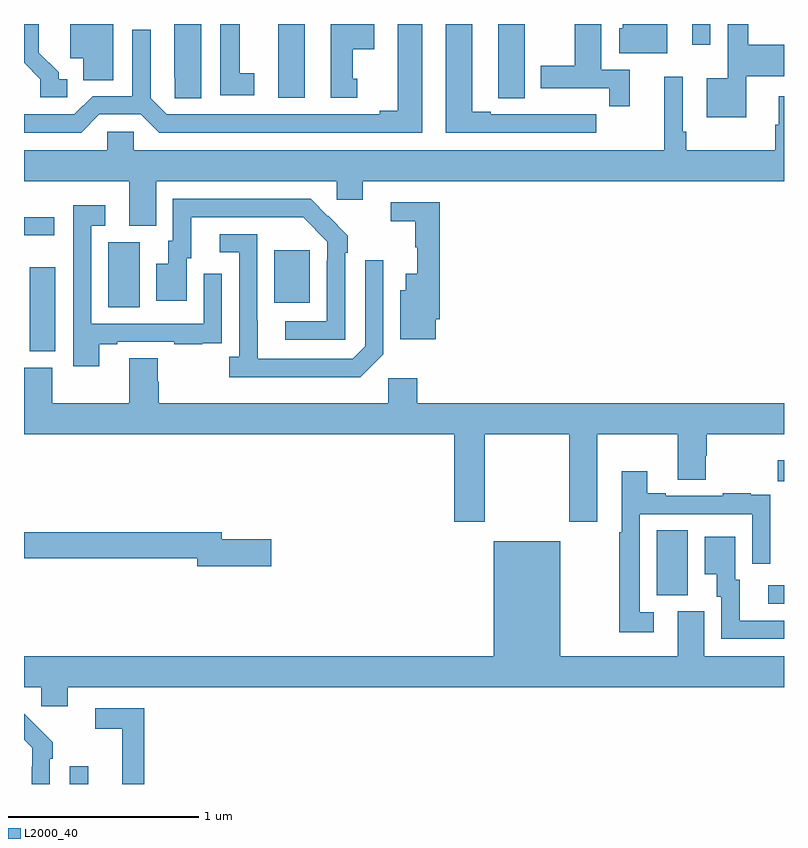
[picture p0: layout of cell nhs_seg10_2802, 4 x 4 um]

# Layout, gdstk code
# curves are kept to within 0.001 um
import gdstk
lib = gdstk.Library(unit=1e-6, precision=1e-09)
def R(c, l, rs):  # rectangles x0, y0, x1, y1
    for r in rs: c.add(gdstk.rectangle(r[:2], r[2:], *l))
def P(c, l, *ps):  # polygons
    for p in ps: c.add(gdstk.Polygon(p, *l))
L2000_40 = (2000, 40)

nhs_seg10_2802 = lib.new_cell('nhs_seg10_2802')
R(nhs_seg10_2802, L2000_40, [(263.241,1274.5,263.337,1274.593), (266.916,1275.45,267,1275.546), (266.33,1275.493,266.494,1275.836), (266.967,1276.094,267,1276.204), (263.03,1276.777,263.164,1277.221), (263.444,1277.008,263.608,1277.352), (264.317,1277.033,264.505,1277.308), (263,1277.388,263.158,1277.484), (264.338,1278.111,264.478,1278.5), (266.516,1278.39,266.613,1278.5)])
P(nhs_seg10_2802, L2000_40, [(266.011,1278.024),(265.898,1278.024),(265.898,1278.025),(265.732,1278.025),(265.732,1278.024),(265.456,1278.024),(265.456,1278.039),(265.36,1278.039),(265.36,1278.5),(265.22,1278.5),(265.22,1277.928),(266.011,1277.928)],
  [(265.636,1278.5),(265.496,1278.5),(265.496,1278.217),(265.497,1278.217),(265.497,1278.109),(265.636,1278.109)],
  [(263.932,1278.5),(263.792,1278.5),(263.792,1278.217),(263.793,1278.217),(263.793,1278.109),(263.932,1278.109)],
  [(264.754,1278.213),(264.73,1278.213),(264.73,1278.368),(264.844,1278.368),(264.844,1278.5),(264.614,1278.5),(264.614,1278.111),(264.754,1278.111)],
  [(263.227,1278.21),(263.182,1278.21),(263.182,1278.245),(263.077,1278.35),(263.077,1278.5),(263,1278.5),(263,1278.295),(263.085,1278.21),(263.085,1278.114),(263.227,1278.114)],
  [(264.211,1278.242),(264.136,1278.242),(264.136,1278.5),(264.032,1278.5),(264.032,1278.126),(264.211,1278.126)],
  [(266.189,1278.258),(266.038,1278.258),(266.038,1278.5),(265.898,1278.5),(265.898,1278.279),(265.721,1278.279),(265.721,1278.162),(266.08,1278.162),(266.08,1278.066),(266.189,1278.066)],
  [(266.8,1278.224),(267,1278.224),(267,1278.39),(266.812,1278.39),(266.812,1278.5),(266.703,1278.5),(266.703,1278.214),(266.594,1278.214),(266.594,1278.008),(266.8,1278.008)],
  [(263.397,1278.024),(263.615,1278.024),(263.711,1277.928),(265.096,1277.928),(265.096,1278.5),(264.968,1278.5),(264.968,1278.044),(264.872,1278.044),(264.872,1278.024),(263.751,1278.024),(263.667,1278.108),(263.667,1278.469),(263.571,1278.469),(263.571,1278.12),(263.361,1278.12),(263.265,1278.024),(263,1278.024),(263,1277.928),(263.301,1277.928)],
  [(263.47,1278.5),(263.243,1278.5),(263.243,1278.32),(263.312,1278.32),(263.312,1278.205),(263.47,1278.205)],
  [(266.386,1278.5),(266.15,1278.5),(266.15,1278.477),(266.132,1278.477),(266.132,1278.347),(266.386,1278.347)],
  [(263.695,1277.672),(264.645,1277.672),(264.645,1277.574),(264.784,1277.574),(264.784,1277.672),(267,1277.672),(267,1278.121),(266.972,1278.121),(266.972,1277.97),(266.953,1277.97),(266.953,1277.836),(266.486,1277.836),(266.486,1277.932),(266.466,1277.932),(266.466,1278.223),(266.369,1278.223),(266.369,1277.836),(263.577,1277.836),(263.577,1277.934),(263.439,1277.934),(263.439,1277.836),(263,1277.836),(263,1277.672),(263.555,1277.672),(263.555,1277.437),(263.695,1277.437)],
  [(264.69,1277.297),(264.705,1277.297),(264.705,1277.385),(264.508,1277.58),(263.784,1277.58),(263.784,1277.358),(263.759,1277.358),(263.759,1277.239),(263.696,1277.239),(263.696,1277.043),(263.857,1277.043),(263.857,1277.268),(263.881,1277.268),(263.881,1277.484),(264.469,1277.484),(264.597,1277.355),(264.597,1277.255),(264.594,1277.255),(264.594,1276.935),(264.375,1276.935),(264.375,1276.839),(264.69,1276.839)],
  [(265.168,1276.945),(265.187,1276.945),(265.187,1277.562),(264.93,1277.562),(264.93,1277.461),(265.059,1277.461),(265.059,1277.325),(265.07,1277.325),(265.07,1277.185),(265.01,1277.185),(265.01,1277.098),(264.98,1277.098),(264.98,1276.841),(265.168,1276.841)],
  [(263.395,1276.815),(263.491,1276.815),(263.491,1276.827),(263.791,1276.827),(263.791,1276.815),(263.939,1276.815),(263.939,1276.821),(264.041,1276.821),(264.041,1276.93),(264.042,1276.93),(264.042,1277.185),(263.946,1277.185),(263.946,1276.923),(263.355,1276.923),(263.355,1277.439),(263.428,1277.439),(263.428,1277.545),(263.259,1277.545),(263.259,1276.698),(263.395,1276.698)],
  [(264.891,1276.761),(264.891,1277.257),(264.795,1277.257),(264.795,1276.803),(264.729,1276.737),(264.229,1276.737),(264.228,1277.394),(264.03,1277.394),(264.03,1277.298),(264.132,1277.298),(264.132,1276.75),(264.081,1276.75),(264.081,1276.64),(264.77,1276.64)],
  [(265.425,1276.34),(265.87,1276.34),(265.87,1275.879),(266.017,1275.879),(266.017,1276.34),(266.441,1276.34),(266.441,1276.102),(266.589,1276.102),(266.589,1276.227),(266.594,1276.227),(266.594,1276.34),(267,1276.34),(267,1276.504),(265.07,1276.504),(265.07,1276.636),(264.918,1276.636),(264.918,1276.504),(263.708,1276.504),(263.708,1276.617),(263.703,1276.617),(263.703,1276.742),(263.555,1276.742),(263.555,1276.504),(263.149,1276.504),(263.149,1276.692),(263.002,1276.692),(263.002,1276.504),(263,1276.504),(263,1276.34),(265.265,1276.34),(265.265,1275.879),(265.425,1275.879)],
  [(266.314,1275.405),(266.241,1275.405),(266.241,1275.921),(266.832,1275.921),(266.832,1275.66),(266.928,1275.66),(266.928,1275.914),(266.927,1275.914),(266.927,1276.023),(266.825,1276.023),(266.825,1276.03),(266.677,1276.03),(266.677,1276.017),(266.377,1276.017),(266.377,1276.03),(266.281,1276.03),(266.281,1276.147),(266.145,1276.147),(266.145,1275.824),(266.133,1275.824),(266.133,1275.3),(266.314,1275.3)],
  [(264.301,1275.788),(264.04,1275.788),(264.04,1275.824),(263,1275.824),(263,1275.688),(263.912,1275.688),(263.912,1275.646),(264.301,1275.646)],
  [(267,1275.36),(266.767,1275.36),(266.767,1275.576),(266.743,1275.576),(266.743,1275.802),(266.582,1275.802),(266.582,1275.605),(266.645,1275.605),(266.645,1275.486),(266.67,1275.486),(266.67,1275.264),(267,1275.264)],
  [(263.23,1275.008),(267,1275.008),(267,1275.172),(266.581,1275.172),(266.581,1275.408),(266.441,1275.408),(266.441,1275.172),(265.822,1275.172),(265.822,1275.778),(265.472,1275.778),(265.472,1275.172),(263,1275.172),(263,1275.008),(263.091,1275.008),(263.091,1274.91),(263.23,1274.91)],
  [(263.633,1274.898),(263.376,1274.898),(263.376,1274.79),(263.516,1274.79),(263.516,1274.5),(263.633,1274.5)],
  [(263.136,1274.633),(263.151,1274.633),(263.151,1274.721),(263.046,1274.826),(263.045,1274.825),(263,1274.87),(263,1274.734),(263.043,1274.691),(263.043,1274.591),(263.04,1274.591),(263.04,1274.5),(263.136,1274.5)])

lib.write_gds('nhs_seg10_2802.gds')
